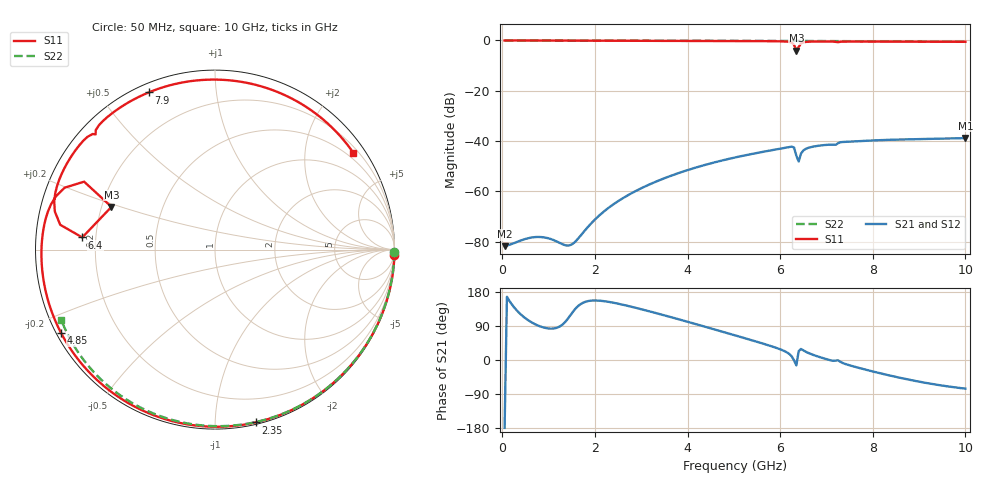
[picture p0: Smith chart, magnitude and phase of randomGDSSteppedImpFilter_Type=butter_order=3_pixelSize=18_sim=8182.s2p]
! freq	dB(S11)	phase(S11)	dB(S12)	phase(S12)
!  dB(S21)	phase(S21)	dB(S22)	phase(S22)
!S-par simulation data
#  GHz  S  DB  R 50
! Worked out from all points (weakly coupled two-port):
!   200 points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, 50 MHz to 10 GHz, reference 50 ohm
!   highest |S21| = -38.78 dB at 10 GHz (marker M1); lowest = -81.7 dB at 50 MHz (marker M2)
!   lowest |S11| = -4.1 dB at 6.35 GHz (marker M3), VSWR 4.32, Z = 12 + j9.37 ohm
!   |S11| at or under -10 dB: nowhere
!   |S22| runs from -0.5 to 0.0 dB; largest |S21 - S12| = 0
!   S11 on the Smith chart (normalised r, x): 50 MHz: 0, -68; 2.35 GHz: 0.01, -1.26; 4.85 GHz: 0.01, -0.25; 6.4 GHz: 0.15, +0.04; 7.9 GHz: 0.04, +0.66; 10 GHz: 0.33, +3.13
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0.05  -0.00 -1.7  -81.73 -179.2  -81.73 -179.2  -0.00 -0.9
0.8  -0.03 -26.9  -78.07 89.5  -78.07 89.5  -0.02 -14.4
1.55  -0.06 -51.5  -80.38 131.1  -80.38 131.1  -0.04 -27.7
1.75  -0.07 -57.9  -76.22 151.4  -76.22 151.4  -0.04 -31.2
2.35  -0.10 -76.8  -65.74 152.3  -65.74 152.3  -0.05 -41.6
3.4  -0.14 -108.7  -55.47 121.2  -55.47 121.2  -0.08 -59.2
4.1  -0.17 -129.4  -50.93 97.5  -50.93 97.5  -0.10 -70.5
4.85  -0.22 -151.6  -47.22 71.3  -47.22 71.3  -0.12 -82.2
5.05  -0.23 -157.6  -46.39 64.2  -46.39 64.2  -0.13 -85.3
5.65  -0.28 -176.3  -44.17 42.5  -44.17 42.5  -0.16 -94.3
6.1  -0.40 167.2  -42.64 23.0  -42.64 23.0  -0.18 -100.9
6.25  -0.86 157.6  -42.18 9.5  -42.18 9.5  -0.19 -103.1
6.3  -1.71 152.6  -42.53 -1.0  -42.53 -1.0  -0.19 -103.8
6.35  -4.10 157.6  -45.81 -14.1  -45.81 -14.1  -0.19 -104.5
6.4  -2.58 174.8  -48.11 23.4  -48.11 23.4  -0.20 -105.3
6.5  -0.75 166.6  -43.70 25.5  -43.70 25.5  -0.20 -106.7
6.7  -0.44 155.9  -42.22 14.1  -42.22 14.1  -0.21 -109.6
7.15  -0.46 138.6  -41.45 -2.1  -41.45 -2.1  -0.24 -115.9
7.9  -0.44 112.9  -39.81 -27.2  -39.81 -27.2  -0.30 -126.4
8.35  -0.46 96.4  -39.48 -40.5  -39.48 -40.5  -0.34 -132.7
9.15  -0.50 66.6  -39.16 -60.5  -39.16 -60.5  -0.42 -143.7
10  -0.53 35.1  -38.78 -75.5  -38.78 -75.5  -0.52 -155.6
